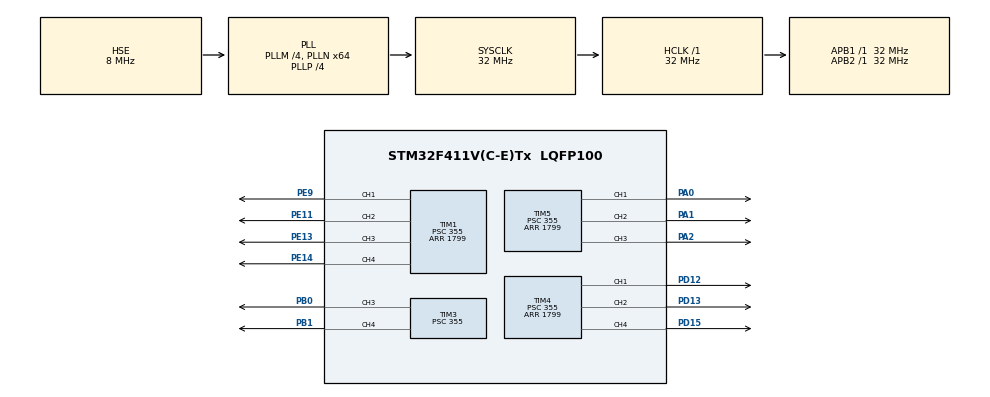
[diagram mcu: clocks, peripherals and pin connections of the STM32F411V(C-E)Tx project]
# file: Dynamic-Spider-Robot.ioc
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Mcu.Family=STM32F4
Mcu.Name=STM32F411V(C-E)Tx
Mcu.Package=LQFP100
NVIC.PriorityGroup=NVIC_PRIORITYGROUP_4
PA0-WKUP.Signal=S_TIM5_CH1
PA1.Signal=S_TIM5_CH2
PA13.Mode=Serial_Wire
PA13.Signal=SYS_JTMS-SWDIO
PA14.Mode=Serial_Wire
PA14.Signal=SYS_JTCK-SWCLK
PA2.Signal=S_TIM5_CH3
PB0.Signal=S_TIM3_CH3
PB1.Signal=S_TIM3_CH4
PD12.Signal=S_TIM4_CH1
PD13.Signal=S_TIM4_CH2
PD15.Signal=S_TIM4_CH4
PE11.Signal=S_TIM1_CH2
PE13.Signal=S_TIM1_CH3
PE14.Signal=S_TIM1_CH4
PE9.Signal=S_TIM1_CH1
PH0\ -\ OSC_IN.Mode=HSE-External-Oscillator
PH0\ -\ OSC_IN.Signal=RCC_OSC_IN
PH1\ -\ OSC_OUT.Mode=HSE-External-Oscillator
PH1\ -\ OSC_OUT.Signal=RCC_OSC_OUT
ProjectManager.HeapSize=0x200
ProjectManager.StackSize=0x400
ProjectManager.TargetToolchain=STM32CubeIDE
RCC.48MHZClocksFreq_Value=32000000
RCC.AHBFreq_Value=32000000
RCC.APB1Freq_Value=32000000
RCC.APB1TimFreq_Value=32000000
RCC.APB2Freq_Value=32000000
RCC.APB2TimFreq_Value=32000000
RCC.CortexFreq_Value=32000000
RCC.HCLKFreq_Value=32000000
RCC.HSE_VALUE=8000000
RCC.HSI_VALUE=16000000
RCC.LSE_VALUE=32768
RCC.PLLM=4
RCC.PLLN=64
RCC.PLLP=RCC_PLLP_DIV4
RCC.PLLSourceVirtual=RCC_PLLSOURCE_HSE
RCC.SYSCLKFreq_VALUE=32000000
RCC.SYSCLKSource=RCC_SYSCLKSOURCE_PLLCLK
RCC.VCOOutputFreq_Value=128000000
SH.S_TIM1_CH1.0=TIM1_CH1,PWM Generation1 CH1
SH.S_TIM1_CH2.0=TIM1_CH2,PWM Generation2 CH2
SH.S_TIM1_CH3.0=TIM1_CH3,PWM Generation3 CH3
SH.S_TIM1_CH4.0=TIM1_CH4,PWM Generation4 CH4
SH.S_TIM3_CH3.0=TIM3_CH3,PWM Generation3 CH3
SH.S_TIM3_CH4.0=TIM3_CH4,PWM Generation4 CH4
SH.S_TIM4_CH1.0=TIM4_CH1,PWM Generation1 CH1
SH.S_TIM4_CH2.0=TIM4_CH2,PWM Generation2 CH2
SH.S_TIM4_CH4.0=TIM4_CH4,PWM Generation4 CH4
SH.S_TIM5_CH1.0=TIM5_CH1,PWM Generation1 CH1
SH.S_TIM5_CH2.0=TIM5_CH2,PWM Generation2 CH2
SH.S_TIM5_CH3.0=TIM5_CH3,PWM Generation3 CH3
TIM1.Channel-PWM\ Generation1\ CH1=TIM_CHANNEL_1
TIM1.Channel-PWM\ Generation2\ CH2=TIM_CHANNEL_2
TIM1.Channel-PWM\ Generation3\ CH3=TIM_CHANNEL_3
TIM1.Channel-PWM\ Generation4\ CH4=TIM_CHANNEL_4
TIM1.Period=1799
TIM1.Prescaler=355
TIM3.Channel-PWM\ Generation3\ CH3=TIM_CHANNEL_3
TIM3.Channel-PWM\ Generation4\ CH4=TIM_CHANNEL_4
TIM3.Period=1799
TIM3.Prescaler=355
TIM4.Channel-PWM\ Generation1\ CH1=TIM_CHANNEL_1
TIM4.Channel-PWM\ Generation2\ CH2=TIM_CHANNEL_2
TIM4.Channel-PWM\ Generation3\ CH3=TIM_CHANNEL_3
TIM4.Channel-PWM\ Generation4\ CH4=TIM_CHANNEL_4
TIM4.Period=1799
TIM4.Prescaler=355
TIM5.Channel-PWM\ Generation1\ CH1=TIM_CHANNEL_1
TIM5.Channel-PWM\ Generation2\ CH2=TIM_CHANNEL_2
TIM5.Channel-PWM\ Generation3\ CH3=TIM_CHANNEL_3
TIM5.Period=1799
TIM5.Prescaler=355
board=custom

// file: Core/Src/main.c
/* USER CODE BEGIN Header */
/**
 	 	 #### Bilal Habes Akcam ####
 	 	 	 	 Nov 13, 2022

Dinamik Orumcek Robot, 12 Adet Servo Motor ve Mems Sensorlerini Kullanan
PID Algoritmasina Sahip Bir Denge Robotudur. Ayrica Ileri Geri Yuruyebilme ve
Kendi Etrafinda Donebilmektedir.

  */
/* USER CODE END Header */
#include "main.h"

/* USER CODE BEGIN Includes */
#include "SpiderDriver.h"
#include "Accelerometer.h"
#include "Gyro.h"
#include "DisplayData.h"
#include "PID.h"
#include "timer.h"

#define DELAY_LENGTH  100000

/* USER CODE END Includes */

TIM_HandleTypeDef htim1;
TIM_HandleTypeDef htim3;
TIM_HandleTypeDef htim4;
TIM_HandleTypeDef htim5;

void SystemClock_Config(void);
static void MX_GPIO_Init(void);
static void MX_TIM1_Init(void);
static void MX_TIM3_Init(void);
static void MX_TIM4_Init(void);
static void MX_TIM5_Init(void);
/* USER CODE BEGIN PFP */
void InitializeGyro();
void InitializeAccel();
void Delay();

/* USER CODE END PFP */

/* USER CODE BEGIN 0 */

int32_t angel2 = 0;

extern int currentPosition[5][5];
extern short accelX;
short totalData = 0;
short filtredData;

extern int a;
extern int b;
extern int c;
extern int d;
extern int e;

/* USER CODE END 0 */

int main(void)
{

  /* MCU Configuration--------------------------------------------------------*/

  /* Reset of all peripherals, Initializes the Flash interface and the Systick. */
  HAL_Init();

  /* Configure the system clock */
  SystemClock_Config();

  /* Initialize all configured peripherals */
  MX_GPIO_Init();
  MX_TIM1_Init();
  MX_TIM3_Init();
  MX_TIM4_Init();
  MX_TIM5_Init();
  /* USER CODE BEGIN 2 */

  PIDtimerInit();
  PIDtimerEnable();

  InitializeGyro();
  InitializeAccel();

  robot_tims_init();
  HAL_Delay(50);

  robot_all_leg_90();
  HAL_Delay(500);

  initPosition();
  HAL_Delay(500);

  // Robot Frame 'inin Kisa Olan Kismi On Kisim Olmasi Durumunda initPosition();
  // fonksiyonu yerine scalingServo(); Fonksiyonu Kullanilir.

  //   scalingServo();

  /* USER CODE END 2 */

  /* Infinite loop */
  while (1)
  {

    /* USER CODE BEGIN 3 */

	  DisplayAxisValues();

	  resetPidVariables();

	  calcMotorPower(accelX);

	  // AccelX Degerinin Cok Gurultulu Olmasi Durumunda
	  // Assagidaki Yorum Satiri Kaldirilarak Gelen Veri Daha
//		moveForward();

//		for (int i = 0; i < 15; i++)
//		{
//			DisplayAxisValues();
//			totalData += accelX;
//		}
//
//		filtredData = totalData / 15;
//		totalData = 0;
//
//
//		if (filtredData >= 800)
//		{
//			angel2 = (filtredData / 60);
//			leg1_2(b + angel2);
//			leg1_1(b + angel2);
//			HAL_Delay(10);
//			leg3_2(d - angel2);
//			leg3_1(d - angel2);
//		}
//
//
//		else if (filtredData <= -800)
//		{
//
//			angel2 = (filtredData / 60);
//			leg2_2(b + angel2);
//			leg2_1(b + angel2);
//			HAL_Delay(10);
//			leg4_2(d - angel2);
//			leg4_1(d - angel2);
//
//		}

  }
  /* USER CODE END 3 */
}

void SystemClock_Config(void)
{
  RCC_OscInitTypeDef RCC_OscInitStruct = {0};
  RCC_ClkInitTypeDef RCC_ClkInitStruct = {0};

  /** Configure the main internal regulator output voltage
  */
  __HAL_RCC_PWR_CLK_ENABLE();
  __HAL_PWR_VOLTAGESCALING_CONFIG(PWR_REGULATOR_VOLTAGE_SCALE1);

  /** Initializes the RCC Oscillators according to the specified parameters
  * in the RCC_OscInitTypeDef structure.
  */
  RCC_OscInitStruct.OscillatorType = RCC_OSCILLATORTYPE_HSE;
  RCC_OscInitStruct.HSEState = RCC_HSE_ON;
  RCC_OscInitStruct.PLL.PLLState = RCC_PLL_ON;
  RCC_OscInitStruct.PLL.PLLSource = RCC_PLLSOURCE_HSE;
  RCC_OscInitStruct.PLL.PLLM = 4;
  RCC_OscInitStruct.PLL.PLLN = 64;
  RCC_OscInitStruct.PLL.PLLP = RCC_PLLP_DIV4;
  RCC_OscInitStruct.PLL.PLLQ = 4;
  if (HAL_RCC_OscConfig(&RCC_OscInitStruct) != HAL_OK)
  {
    Error_Handler();
  }

  /** Initializes the CPU, AHB and APB buses clocks
  */
  RCC_ClkInitStruct.ClockType = RCC_CLOCKTYPE_HCLK|RCC_CLOCKTYPE_SYSCLK
                              |RCC_CLOCKTYPE_PCLK1|RCC_CLOCKTYPE_PCLK2;
  RCC_ClkInitStruct.SYSCLKSource = RCC_SYSCLKSOURCE_PLLCLK;
  RCC_ClkInitStruct.AHBCLKDivider = RCC_SYSCLK_DIV1;
  RCC_ClkInitStruct.APB1CLKDivider = RCC_HCLK_DIV1;
  RCC_ClkInitStruct.APB2CLKDivider = RCC_HCLK_DIV1;

  if (HAL_RCC_ClockConfig(&RCC_ClkInitStruct, FLASH_LATENCY_1) != HAL_OK)
  {
    Error_Handler();
  }
}

static void MX_TIM1_Init(void)
{

  TIM_MasterConfigTypeDef sMasterConfig = {0};
  TIM_OC_InitTypeDef sConfigOC = {0};
  TIM_BreakDeadTimeConfigTypeDef sBreakDeadTimeConfig = {0};

  htim1.Instance = TIM1;
  htim1.Init.Prescaler = 355;
  htim1.Init.CounterMode = TIM_COUNTERMODE_UP;
  htim1.Init.Period = 1799;
  htim1.Init.ClockDivision = TIM_CLOCKDIVISION_DIV1;
  htim1.Init.RepetitionCounter = 0;
  htim1.Init.AutoReloadPreload = TIM_AUTORELOAD_PRELOAD_DISABLE;
  if (HAL_TIM_PWM_Init(&htim1) != HAL_OK)
  {
    Error_Handler();
  }
  sMasterConfig.MasterOutputTrigger = TIM_TRGO_RESET;
  sMasterConfig.MasterSlaveMode = TIM_MASTERSLAVEMODE_DISABLE;
  if (HAL_TIMEx_MasterConfigSynchronization(&htim1, &sMasterConfig) != HAL_OK)
  {
    Error_Handler();
  }
  sConfigOC.OCMode = TIM_OCMODE_PWM1;
  sConfigOC.Pulse = 0;
  sConfigOC.OCPolarity = TIM_OCPOLARITY_HIGH;
  sConfigOC.OCNPolarity = TIM_OCNPOLARITY_HIGH;
  sConfigOC.OCFastMode = TIM_OCFAST_DISABLE;
  sConfigOC.OCIdleState = TIM_OCIDLESTATE_RESET;
  sConfigOC.OCNIdleState = TIM_OCNIDLESTATE_RESET;
  if (HAL_TIM_PWM_ConfigChannel(&htim1, &sConfigOC, TIM_CHANNEL_1) != HAL_OK)
  {
    Error_Handler();
  }
  if (HAL_TIM_PWM_ConfigChannel(&htim1, &sConfigOC, TIM_CHANNEL_2) != HAL_OK)
  {
    Error_Handler();
  }
  if (HAL_TIM_PWM_ConfigChannel(&htim1, &sConfigOC, TIM_CHANNEL_3) != HAL_OK)
  {
    Error_Handler();
  }
  if (HAL_TIM_PWM_ConfigChannel(&htim1, &sConfigOC, TIM_CHANNEL_4) != HAL_OK)
  {
    Error_Handler();
  }
  sBreakDeadTimeConfig.OffStateRunMode = TIM_OSSR_DISABLE;
  sBreakDeadTimeConfig.OffStateIDLEMode = TIM_OSSI_DISABLE;
  sBreakDeadTimeConfig.LockLevel = TIM_LOCKLEVEL_OFF;
  sBreakDeadTimeConfig.DeadTime = 0;
  sBreakDeadTimeConfig.BreakState = TIM_BREAK_DISABLE;
  sBreakDeadTimeConfig.BreakPolarity = TIM_BREAKPOLARITY_HIGH;
  sBreakDeadTimeConfig.AutomaticOutput = TIM_AUTOMATICOUTPUT_DISABLE;
  if (HAL_TIMEx_ConfigBreakDeadTime(&htim1, &sBreakDeadTimeConfig) != HAL_OK)
  {
    Error_Handler();
  }
  HAL_TIM_MspPostInit(&htim1);

}

static void MX_TIM3_Init(void)
{

  TIM_MasterConfigTypeDef sMasterConfig = {0};
  TIM_OC_InitTypeDef sConfigOC = {0};

  htim3.Instance = TIM3;
  htim3.Init.Prescaler = 355;
  htim3.Init.CounterMode = TIM_COUNTERMODE_UP;
  htim3.Init.Period = 1799;
  htim3.Init.ClockDivision = TIM_CLOCKDIVISION_DIV1;
  htim3.Init.AutoReloadPreload = TIM_AUTORELOAD_PRELOAD_DISABLE;
  if (HAL_TIM_PWM_Init(&htim3) != HAL_OK)
  {
    Error_Handler();
  }
  sMasterConfig.MasterOutputTrigger = TIM_TRGO_RESET;
  sMasterConfig.MasterSlaveMode = TIM_MASTERSLAVEMODE_DISABLE;
  if (HAL_TIMEx_MasterConfigSynchronization(&htim3, &sMasterConfig) != HAL_OK)
  {
    Error_Handler();
  }
  sConfigOC.OCMode = TIM_OCMODE_PWM1;
  sConfigOC.Pulse = 0;
  sConfigOC.OCPolarity = TIM_OCPOLARITY_HIGH;
  sConfigOC.OCFastMode = TIM_OCFAST_DISABLE;
  if (HAL_TIM_PWM_ConfigChannel(&htim3, &sConfigOC, TIM_CHANNEL_3) != HAL_OK)
  {
    Error_Handler();
  }
  if (HAL_TIM_PWM_ConfigChannel(&htim3, &sConfigOC, TIM_CHANNEL_4) != HAL_OK)
  {
    Error_Handler();
  }
  HAL_TIM_MspPostInit(&htim3);

}

static void MX_TIM4_Init(void)
{

  TIM_MasterConfigTypeDef sMasterConfig = {0};
  TIM_OC_InitTypeDef sConfigOC = {0};

  htim4.Instance = TIM4;
  htim4.Init.Prescaler = 355;
  htim4.Init.CounterMode = TIM_COUNTERMODE_UP;
  htim4.Init.Period = 1799;
  htim4.Init.ClockDivision = TIM_CLOCKDIVISION_DIV1;
  htim4.Init.AutoReloadPreload = TIM_AUTORELOAD_PRELOAD_DISABLE;
  if (HAL_TIM_PWM_Init(&htim4) != HAL_OK)
  {
    Error_Handler();
  }
  sMasterConfig.MasterOutputTrigger = TIM_TRGO_RESET;
  sMasterConfig.MasterSlaveMode = TIM_MASTERSLAVEMODE_DISABLE;
  if (HAL_TIMEx_MasterConfigSynchronization(&htim4, &sMasterConfig) != HAL_OK)
  {
    Error_Handler();
  }
  sConfigOC.OCMode = TIM_OCMODE_PWM1;
  sConfigOC.Pulse = 0;
  sConfigOC.OCPolarity = TIM_OCPOLARITY_HIGH;
  sConfigOC.OCFastMode = TIM_OCFAST_DISABLE;
  if (HAL_TIM_PWM_ConfigChannel(&htim4, &sConfigOC, TIM_CHANNEL_1) != HAL_OK)
  {
    Error_Handler();
  }
  if (HAL_TIM_PWM_ConfigChannel(&htim4, &sConfigOC, TIM_CHANNEL_2) != HAL_OK)
  {
    Error_Handler();
  }
  if (HAL_TIM_PWM_ConfigChannel(&htim4, &sConfigOC, TIM_CHANNEL_4) != HAL_OK)
  {
    Error_Handler();
  }
  HAL_TIM_MspPostInit(&htim4);

}

static void MX_TIM5_Init(void)
{

  TIM_MasterConfigTypeDef sMasterConfig = {0};
  TIM_OC_InitTypeDef sConfigOC = {0};

  htim5.Instance = TIM5;
  htim5.Init.Prescaler = 355;
  htim5.Init.CounterMode = TIM_COUNTERMODE_UP;
  htim5.Init.Period = 1799;
  htim5.Init.ClockDivision = TIM_CLOCKDIVISION_DIV1;
  htim5.Init.AutoReloadPreload = TIM_AUTORELOAD_PRELOAD_DISABLE;
  if (HAL_TIM_PWM_Init(&htim5) != HAL_OK)
  {
    Error_Handler();
  }
  sMasterConfig.MasterOutputTrigger = TIM_TRGO_RESET;
  sMasterConfig.MasterSlaveMode = TIM_MASTERSLAVEMODE_DISABLE;
  if (HAL_TIMEx_MasterConfigSynchronization(&htim5, &sMasterConfig) != HAL_OK)
  {
    Error_Handler();
  }
  sConfigOC.OCMode = TIM_OCMODE_PWM1;
  sConfigOC.Pulse = 0;
  sConfigOC.OCPolarity = TIM_OCPOLARITY_HIGH;
  sConfigOC.OCFastMode = TIM_OCFAST_DISABLE;
  if (HAL_TIM_PWM_ConfigChannel(&htim5, &sConfigOC, TIM_CHANNEL_1) != HAL_OK)
  {
    Error_Handler();
  }
  if (HAL_TIM_PWM_ConfigChannel(&htim5, &sConfigOC, TIM_CHANNEL_2) != HAL_OK)
  {
    Error_Handler();
  }
  if (HAL_TIM_PWM_ConfigChannel(&htim5, &sConfigOC, TIM_CHANNEL_3) != HAL_OK)
  {
    Error_Handler();
  }
  HAL_TIM_MspPostInit(&htim5);

}

static void MX_GPIO_Init(void)
{

  /* GPIO Ports Clock Enable */
  __HAL_RCC_GPIOH_CLK_ENABLE();
  __HAL_RCC_GPIOA_CLK_ENABLE();
  __HAL_RCC_GPIOB_CLK_ENABLE();
  __HAL_RCC_GPIOE_CLK_ENABLE();
  __HAL_RCC_GPIOD_CLK_ENABLE();

}

/* USER CODE BEGIN 4 */
void InitializeGyro()
{
	GyroInit();
}

void InitializeAccel()
{
	AccelerometerInit();
}

void Delay()
{
	for(volatile int i = 0; i < DELAY_LENGTH; ++i);
}

/* USER CODE END 4 */

void Error_Handler(void)
{
  __disable_irq();
  while (1)
  {
  }
}
